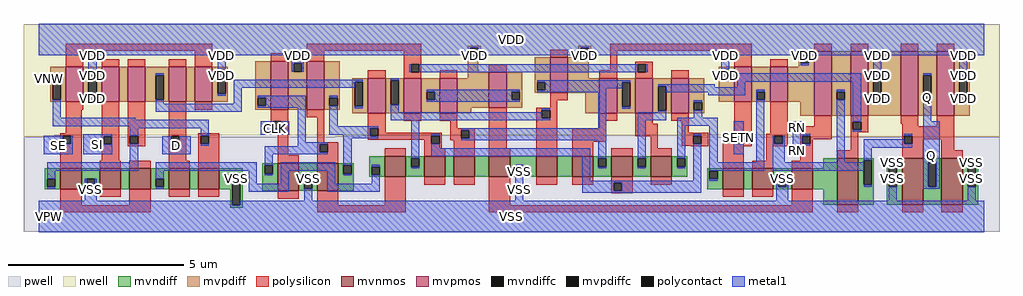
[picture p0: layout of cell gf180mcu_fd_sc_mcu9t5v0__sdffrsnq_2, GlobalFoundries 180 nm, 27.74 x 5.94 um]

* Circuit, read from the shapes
.subckt gf180mcu_fd_sc_mcu9t5v0__sdffrsnq_2 D RN SE SETN SI CLK Q VDD VNW VPW VSS
XM1 VSS SE n1 VPW nfet_06v0 w=0.59u l=0.6u
XM2 n2 SI VSS VPW nfet_06v0 w=0.59u l=0.6u
XM3 n3 SE n2 VPW nfet_06v0 w=0.59u l=0.6u
XM4 n4 D n3 VPW nfet_06v0 w=0.59u l=0.6u
XM5 VSS n1 n4 VPW nfet_06v0 w=0.59u l=0.6u
XM6 VSS CLK n5 VPW nfet_06v0 w=0.79u l=0.6u
XM7 n6 n5 VSS VPW nfet_06v0 w=0.79u l=0.6u
XM8 n7 n5 n3 VPW nfet_06v0 w=0.59u l=0.6u
XM9 n8 n6 n7 VPW nfet_06v0 w=0.59u l=0.6u
XM10 n9 n10 n8 VPW nfet_06v0 w=0.59u l=0.6u
XM11 VSS RN n9 VPW nfet_06v0 w=0.59u l=0.6u
XM12 n11 n7 VSS VPW nfet_06v0 w=0.59u l=0.6u
XM13 n10 SETN n11 VPW nfet_06v0 w=0.59u l=0.6u
XM14 n12 n6 n10 VPW nfet_06v0 w=0.59u l=0.6u
XM15 n13 n5 n12 VPW nfet_06v0 w=0.59u l=0.6u
XM16 n14 SETN n13 VPW nfet_06v0 w=0.59u l=0.6u
XM17 VSS n15 n14 VPW nfet_06v0 w=0.59u l=0.6u
XM18 n16 RN VSS VPW nfet_06v0 w=0.59u l=0.6u
XM19 n15 n12 n16 VPW nfet_06v0 w=1.32u l=0.6u
XM20 Q n15 VSS VPW nfet_06v0 w=1.32u l=0.6u m=2
XM21 VDD SE n1 VNW pfet_06v0 w=1u l=0.5u
XM22 n17 SI VDD VNW pfet_06v0 w=1u l=0.5u
XM23 n18 n1 n17 VNW pfet_06v0 w=1u l=0.5u
XM24 n19 D n18 VNW pfet_06v0 w=1u l=0.5u
XM25 VDD SE n19 VNW pfet_06v0 w=1u l=0.5u
XM26 VDD CLK n5 VNW pfet_06v0 w=1.38u l=0.5u
XM27 n6 n5 VDD VNW pfet_06v0 w=1.38u l=0.5u
XM28 n7 n6 n18 VNW pfet_06v0 w=1u l=0.5u
XM29 n20 n5 n7 VNW pfet_06v0 w=1u l=0.5u
XM30 VDD n10 n20 VNW pfet_06v0 w=1u l=0.5u
XM31 n20 RN VDD VNW pfet_06v0 w=1u l=0.5u
XM32 VDD n7 n10 VNW pfet_06v0 w=1u l=0.5u
XM33 n10 SETN VDD VNW pfet_06v0 w=1u l=0.5u
XM34 n12 n5 n10 VNW pfet_06v0 w=1u l=0.5u
XM35 n13 n6 n12 VNW pfet_06v0 w=1u l=0.5u
XM36 n13 SETN VDD VNW pfet_06v0 w=1u l=0.5u
XM37 VDD n15 n13 VNW pfet_06v0 w=1u l=0.5u
XM38 n15 RN VDD VNW pfet_06v0 w=1.83u l=0.5u
XM39 VDD n12 n15 VNW pfet_06v0 w=1.83u l=0.5u
XM40 Q n15 VDD VNW pfet_06v0 w=1.83u l=0.5u m=2
.ends

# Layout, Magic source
magic
tech gf180mcuD
magscale 1 10
<< nwell >>
rect -86 464 5462 1094
rect -86 453 86 464
rect 4277 453 5462 464
<< pwell >>
rect 1836 456 3739 464
rect 1688 453 3739 456
rect -86 -86 5462 453
<< mvnmos >>
rect 124 156 244 274
rect 348 156 468 274
rect 516 156 636 274
rect 740 156 860 274
rect 908 156 1028 274
rect 1360 146 1480 304
rect 1584 146 1704 304
rect 1968 226 2088 344
rect 2192 226 2312 344
rect 2360 226 2480 344
rect 2560 226 2680 344
rect 2828 226 2948 344
rect 3032 226 3152 344
rect 3256 226 3376 344
rect 3480 226 3600 344
rect 3888 157 4008 275
rect 4056 157 4176 275
rect 4280 157 4400 275
rect 4540 69 4660 333
rect 4908 69 5028 333
rect 5132 69 5252 333
<< mvpmos >>
rect 154 652 254 852
rect 358 652 458 852
rect 506 652 606 852
rect 740 652 840 852
rect 888 652 988 852
rect 1320 608 1420 884
rect 1524 608 1624 884
rect 1872 588 1972 788
rect 2076 588 2176 788
rect 2280 588 2380 788
rect 2560 620 2660 820
rect 2908 705 3008 905
rect 3188 588 3288 788
rect 3392 588 3492 788
rect 3596 588 3696 788
rect 3954 652 4054 852
rect 4158 652 4258 852
rect 4408 573 4508 939
rect 4616 573 4716 939
rect 4900 573 5000 939
rect 5104 573 5204 939
<< mvndiff >>
rect 1272 291 1360 304
rect 36 215 124 274
rect 36 169 49 215
rect 95 169 124 215
rect 36 156 124 169
rect 244 215 348 274
rect 244 169 273 215
rect 319 169 348 215
rect 244 156 348 169
rect 468 156 516 274
rect 636 215 740 274
rect 636 169 665 215
rect 711 169 740 215
rect 636 156 740 169
rect 860 156 908 274
rect 1028 205 1160 274
rect 1028 156 1101 205
rect 1088 65 1101 156
rect 1147 65 1160 205
rect 1272 245 1285 291
rect 1331 245 1360 291
rect 1272 146 1360 245
rect 1480 205 1584 304
rect 1480 159 1509 205
rect 1555 159 1584 205
rect 1480 146 1584 159
rect 1704 291 1792 304
rect 1704 245 1733 291
rect 1779 245 1792 291
rect 1704 146 1792 245
rect 1880 285 1968 344
rect 1880 239 1893 285
rect 1939 239 1968 285
rect 1880 226 1968 239
rect 2088 331 2192 344
rect 2088 285 2117 331
rect 2163 285 2192 331
rect 2088 226 2192 285
rect 2312 226 2360 344
rect 2480 226 2560 344
rect 2680 285 2828 344
rect 2680 239 2709 285
rect 2755 239 2828 285
rect 2680 226 2828 239
rect 2948 226 3032 344
rect 3152 331 3256 344
rect 3152 285 3181 331
rect 3227 285 3256 331
rect 3152 226 3256 285
rect 3376 331 3480 344
rect 3376 285 3405 331
rect 3451 285 3480 331
rect 3376 226 3480 285
rect 3600 331 3688 344
rect 3600 285 3629 331
rect 3675 285 3688 331
rect 3600 226 3688 285
rect 4460 275 4540 333
rect 3800 262 3888 275
rect 1088 52 1160 65
rect 3800 216 3813 262
rect 3859 216 3888 262
rect 3800 157 3888 216
rect 4008 157 4056 275
rect 4176 216 4280 275
rect 4176 170 4205 216
rect 4251 170 4280 216
rect 4176 157 4280 170
rect 4400 157 4540 275
rect 4460 69 4540 157
rect 4660 320 4748 333
rect 4660 180 4689 320
rect 4735 180 4748 320
rect 4660 69 4748 180
rect 4820 309 4908 333
rect 4820 169 4833 309
rect 4879 169 4908 309
rect 4820 69 4908 169
rect 5028 309 5132 333
rect 5028 169 5057 309
rect 5103 169 5132 309
rect 5028 69 5132 169
rect 5252 309 5340 333
rect 5252 169 5281 309
rect 5327 169 5340 309
rect 5252 69 5340 169
<< mvpdiff >>
rect 66 805 154 852
rect 66 665 79 805
rect 125 665 154 805
rect 66 652 154 665
rect 254 805 358 852
rect 254 665 283 805
rect 329 665 358 805
rect 254 652 358 665
rect 458 652 506 852
rect 606 805 740 852
rect 606 665 665 805
rect 711 665 740 805
rect 606 652 740 665
rect 840 652 888 852
rect 988 839 1076 852
rect 988 699 1017 839
rect 1063 699 1076 839
rect 988 652 1076 699
rect 1232 676 1320 884
rect 1232 630 1245 676
rect 1291 630 1320 676
rect 1232 608 1320 630
rect 1420 871 1524 884
rect 1420 825 1449 871
rect 1495 825 1524 871
rect 1420 608 1524 825
rect 1624 676 1712 884
rect 2440 959 2512 972
rect 2440 913 2453 959
rect 2499 913 2512 959
rect 3068 959 3140 972
rect 2440 900 2512 913
rect 3068 913 3081 959
rect 3127 913 3140 959
rect 3068 905 3140 913
rect 2440 820 2500 900
rect 2440 788 2560 820
rect 1624 630 1653 676
rect 1699 630 1712 676
rect 1624 608 1712 630
rect 1784 768 1872 788
rect 1784 628 1797 768
rect 1843 628 1872 768
rect 1784 588 1872 628
rect 1972 775 2076 788
rect 1972 635 2001 775
rect 2047 635 2076 775
rect 1972 588 2076 635
rect 2176 711 2280 788
rect 2176 665 2205 711
rect 2251 665 2280 711
rect 2176 588 2280 665
rect 2380 620 2560 788
rect 2660 711 2748 820
rect 2660 665 2689 711
rect 2735 665 2748 711
rect 2820 764 2908 905
rect 2820 718 2833 764
rect 2879 718 2908 764
rect 2820 705 2908 718
rect 3008 900 3140 905
rect 3008 788 3128 900
rect 4320 917 4408 939
rect 4320 871 4333 917
rect 4379 871 4408 917
rect 4320 852 4408 871
rect 3866 839 3954 852
rect 3866 793 3879 839
rect 3925 793 3954 839
rect 3008 705 3188 788
rect 2660 620 2748 665
rect 2380 588 2460 620
rect 3108 588 3188 705
rect 3288 764 3392 788
rect 3288 624 3317 764
rect 3363 624 3392 764
rect 3288 588 3392 624
rect 3492 742 3596 788
rect 3492 602 3521 742
rect 3567 602 3596 742
rect 3492 588 3596 602
rect 3696 650 3784 788
rect 3866 652 3954 793
rect 4054 711 4158 852
rect 4054 665 4083 711
rect 4129 665 4158 711
rect 4054 652 4158 665
rect 4258 652 4408 852
rect 3696 604 3725 650
rect 3771 604 3784 650
rect 3696 588 3784 604
rect 4328 573 4408 652
rect 4508 711 4616 939
rect 4508 665 4537 711
rect 4583 665 4616 711
rect 4508 573 4616 665
rect 4716 805 4900 939
rect 4716 665 4745 805
rect 4791 665 4900 805
rect 4716 573 4900 665
rect 5000 805 5104 939
rect 5000 665 5029 805
rect 5075 665 5104 805
rect 5000 573 5104 665
rect 5204 805 5292 939
rect 5204 665 5233 805
rect 5279 665 5292 805
rect 5204 573 5292 665
<< mvndiffc >>
rect 49 169 95 215
rect 273 169 319 215
rect 665 169 711 215
rect 1101 65 1147 205
rect 1285 245 1331 291
rect 1509 159 1555 205
rect 1733 245 1779 291
rect 1893 239 1939 285
rect 2117 285 2163 331
rect 2709 239 2755 285
rect 3181 285 3227 331
rect 3405 285 3451 331
rect 3629 285 3675 331
rect 3813 216 3859 262
rect 4205 170 4251 216
rect 4689 180 4735 320
rect 4833 169 4879 309
rect 5057 169 5103 309
rect 5281 169 5327 309
<< mvpdiffc >>
rect 79 665 125 805
rect 283 665 329 805
rect 665 665 711 805
rect 1017 699 1063 839
rect 1245 630 1291 676
rect 1449 825 1495 871
rect 2453 913 2499 959
rect 3081 913 3127 959
rect 1653 630 1699 676
rect 1797 628 1843 768
rect 2001 635 2047 775
rect 2205 665 2251 711
rect 2689 665 2735 711
rect 2833 718 2879 764
rect 4333 871 4379 917
rect 3879 793 3925 839
rect 3317 624 3363 764
rect 3521 602 3567 742
rect 4083 665 4129 711
rect 3725 604 3771 650
rect 4537 665 4583 711
rect 4745 665 4791 805
rect 5029 665 5075 805
rect 5233 665 5279 805
<< polysilicon >>
rect 154 944 988 984
rect 154 852 254 944
rect 358 852 458 896
rect 506 852 606 896
rect 740 852 840 896
rect 888 852 988 944
rect 1524 944 2176 984
rect 1320 884 1420 928
rect 1524 884 1624 944
rect 154 608 254 652
rect 154 473 244 608
rect 124 460 244 473
rect 124 414 137 460
rect 183 414 244 460
rect 124 274 244 414
rect 358 458 458 652
rect 358 412 371 458
rect 417 412 458 458
rect 358 318 458 412
rect 506 460 606 652
rect 506 414 519 460
rect 565 414 606 460
rect 506 401 606 414
rect 740 458 840 652
rect 888 608 988 652
rect 2076 867 2176 944
rect 1872 788 1972 832
rect 2076 821 2117 867
rect 2163 821 2176 867
rect 2908 905 3008 949
rect 2076 788 2176 821
rect 2280 788 2380 832
rect 2560 820 2660 864
rect 1320 542 1420 608
rect 1524 564 1624 608
rect 3248 944 4054 984
rect 3248 832 3288 944
rect 3188 788 3288 832
rect 3392 867 3492 880
rect 3392 821 3405 867
rect 3451 821 3492 867
rect 3954 852 4054 944
rect 4408 939 4508 983
rect 4616 939 4716 983
rect 4900 939 5000 983
rect 5104 939 5204 983
rect 4158 852 4258 896
rect 3392 788 3492 821
rect 3596 788 3696 832
rect 2908 661 3008 705
rect 1320 496 1333 542
rect 1379 496 1420 542
rect 1320 483 1420 496
rect 740 412 753 458
rect 799 412 840 458
rect 740 318 840 412
rect 908 460 1028 473
rect 908 414 921 460
rect 967 414 1028 460
rect 348 274 468 318
rect 516 274 636 318
rect 740 274 860 318
rect 908 274 1028 414
rect 1360 348 1420 483
rect 1584 424 1624 564
rect 1872 502 1972 588
rect 2076 544 2176 588
rect 2280 544 2380 588
rect 1872 456 1885 502
rect 1931 476 1972 502
rect 2340 504 2380 544
rect 2340 491 2480 504
rect 1931 460 2292 476
rect 1931 456 2233 460
rect 1872 436 2233 456
rect 1584 411 1704 424
rect 1584 365 1597 411
rect 1643 365 1704 411
rect 2192 414 2233 436
rect 2279 414 2292 460
rect 2340 445 2401 491
rect 2447 445 2480 491
rect 2340 434 2480 445
rect 2192 388 2292 414
rect 1360 304 1480 348
rect 1584 304 1704 365
rect 1968 344 2088 388
rect 2192 344 2312 388
rect 2360 344 2480 434
rect 2560 388 2660 620
rect 2908 618 2948 661
rect 2828 605 2948 618
rect 2828 559 2861 605
rect 2907 559 2948 605
rect 2560 344 2680 388
rect 2828 344 2948 559
rect 3188 544 3288 588
rect 3188 499 3228 544
rect 3032 427 3228 499
rect 3392 528 3492 588
rect 3596 544 3696 588
rect 3392 457 3520 528
rect 3032 344 3152 427
rect 3480 388 3520 457
rect 3656 476 3696 544
rect 3656 460 3807 476
rect 3954 470 4054 652
rect 4158 471 4258 652
rect 4408 513 4508 573
rect 3656 414 3721 460
rect 3767 414 3807 460
rect 3656 404 3807 414
rect 3707 401 3807 404
rect 3888 460 4054 470
rect 3888 414 3962 460
rect 4008 414 4054 460
rect 3888 401 4054 414
rect 4136 460 4258 471
rect 4136 414 4183 460
rect 4229 414 4258 460
rect 4136 401 4258 414
rect 4328 460 4508 513
rect 4328 414 4341 460
rect 4387 441 4508 460
rect 4616 540 4716 573
rect 4616 494 4629 540
rect 4675 494 4716 540
rect 4900 529 5000 573
rect 4616 481 4716 494
rect 4908 513 5000 529
rect 5104 513 5204 573
rect 4387 414 4400 441
rect 3256 344 3376 388
rect 3480 344 3600 388
rect 124 64 244 156
rect 348 112 468 156
rect 516 64 636 156
rect 740 112 860 156
rect 908 112 1028 156
rect 124 24 636 64
rect 3888 275 4008 401
rect 4136 319 4176 401
rect 4328 319 4400 414
rect 4616 377 4660 481
rect 4540 333 4660 377
rect 4908 460 5204 513
rect 4908 414 4921 460
rect 4967 441 5204 460
rect 4967 414 5028 441
rect 4908 333 5028 414
rect 5132 377 5204 441
rect 5132 333 5252 377
rect 4056 275 4176 319
rect 4280 275 4400 319
rect 1360 102 1480 146
rect 1584 64 1704 146
rect 1968 64 2088 226
rect 2192 182 2312 226
rect 2360 182 2480 226
rect 1584 24 2088 64
rect 2560 64 2680 226
rect 2828 182 2948 226
rect 3032 182 3152 226
rect 3256 193 3376 226
rect 3256 147 3269 193
rect 3315 147 3376 193
rect 3480 182 3600 226
rect 3256 134 3376 147
rect 3888 113 4008 157
rect 4056 113 4176 157
rect 4280 64 4400 157
rect 2560 24 4400 64
rect 4540 25 4660 69
rect 4908 25 5028 69
rect 5132 25 5252 69
<< polycontact >>
rect 137 414 183 460
rect 371 412 417 458
rect 519 414 565 460
rect 2117 821 2163 867
rect 3405 821 3451 867
rect 1333 496 1379 542
rect 753 412 799 458
rect 921 414 967 460
rect 1885 456 1931 502
rect 1597 365 1643 411
rect 2233 414 2279 460
rect 2401 445 2447 491
rect 2861 559 2907 605
rect 3721 414 3767 460
rect 3962 414 4008 460
rect 4183 414 4229 460
rect 4341 414 4387 460
rect 4629 494 4675 540
rect 4921 414 4967 460
rect 3269 147 3315 193
<< metal1 >>
rect 0 959 5376 1098
rect 0 918 2453 959
rect 79 805 125 816
rect 79 561 125 665
rect 283 805 329 918
rect 1017 839 1063 918
rect 283 654 329 665
rect 665 805 711 816
rect 1438 871 1506 918
rect 2442 913 2453 918
rect 2499 918 3081 959
rect 2499 913 2510 918
rect 3070 913 3081 918
rect 3127 918 5376 959
rect 3127 913 3138 918
rect 1438 825 1449 871
rect 1495 825 1506 871
rect 2106 821 2117 867
rect 2163 821 3405 867
rect 3451 821 3462 867
rect 3879 839 3925 918
rect 4333 917 4379 918
rect 4333 860 4379 871
rect 1017 688 1063 699
rect 1109 768 1843 779
rect 1109 733 1797 768
rect 665 642 711 665
rect 1109 642 1155 733
rect 665 596 1155 642
rect 1245 676 1518 687
rect 1291 630 1518 676
rect 1245 619 1518 630
rect 79 550 549 561
rect 79 515 967 550
rect 519 504 967 515
rect 30 414 137 460
rect 183 414 194 460
rect 30 354 194 414
rect 254 458 418 469
rect 254 412 371 458
rect 417 412 418 458
rect 254 354 418 412
rect 519 460 565 504
rect 921 460 967 504
rect 1262 496 1333 542
rect 1379 496 1426 542
rect 1262 466 1426 496
rect 519 308 565 414
rect 702 412 753 458
rect 799 412 866 458
rect 702 354 866 412
rect 921 403 967 414
rect 1472 422 1518 619
rect 1653 676 1699 687
rect 1653 513 1699 630
rect 1797 617 1843 628
rect 2001 775 2047 786
rect 3879 782 3925 793
rect 2833 764 3363 775
rect 2205 711 2735 722
rect 2251 665 2689 711
rect 2879 729 3317 764
rect 2879 718 3227 729
rect 2833 707 3227 718
rect 2205 654 2735 665
rect 2001 594 2047 635
rect 2861 605 2907 616
rect 2001 559 2861 594
rect 2001 548 2907 559
rect 1653 502 1931 513
rect 1653 467 1885 502
rect 1733 456 1885 467
rect 1733 445 1931 456
rect 1472 411 1643 422
rect 1472 400 1597 411
rect 1285 365 1597 400
rect 1285 354 1643 365
rect 49 262 565 308
rect 665 262 1239 308
rect 49 215 95 262
rect 665 215 711 262
rect 49 158 95 169
rect 262 169 273 215
rect 319 169 330 215
rect 262 90 330 169
rect 665 158 711 169
rect 1101 205 1147 216
rect 0 65 1101 90
rect 1193 188 1239 262
rect 1285 291 1331 354
rect 1285 234 1331 245
rect 1377 262 1687 308
rect 1377 188 1423 262
rect 1193 142 1423 188
rect 1509 205 1555 216
rect 1509 90 1555 159
rect 1641 188 1687 262
rect 1733 291 1779 445
rect 2117 331 2163 548
rect 3181 502 3227 707
rect 3971 768 4675 814
rect 3317 613 3363 624
rect 3521 742 3843 753
rect 3567 736 3843 742
rect 3971 736 4017 768
rect 3567 707 4017 736
rect 3807 690 4017 707
rect 4080 711 4129 722
rect 4080 665 4083 711
rect 3521 594 3567 602
rect 2401 491 3227 502
rect 2233 460 2279 471
rect 2447 445 3227 491
rect 2401 434 3227 445
rect 2233 388 2279 414
rect 2233 342 3135 388
rect 1733 234 1779 245
rect 1893 285 1939 296
rect 2117 274 2163 285
rect 2709 285 2755 296
rect 1893 188 1939 239
rect 1641 142 1939 188
rect 2709 90 2755 239
rect 3089 204 3135 342
rect 3181 331 3227 434
rect 3181 274 3227 285
rect 3405 548 3567 594
rect 3725 650 3771 661
rect 3725 563 3771 604
rect 4080 654 4129 665
rect 4537 711 4583 722
rect 3405 331 3451 548
rect 3405 274 3451 285
rect 3629 517 3859 563
rect 3629 331 3675 517
rect 3629 274 3675 285
rect 3721 460 3767 471
rect 3721 204 3767 414
rect 3813 308 3859 517
rect 3950 460 4008 542
rect 3950 414 3962 460
rect 3950 354 4008 414
rect 4080 308 4126 654
rect 4286 471 4338 542
rect 4286 460 4387 471
rect 3813 262 4126 308
rect 4172 414 4183 460
rect 4229 414 4240 460
rect 4172 308 4240 414
rect 4286 414 4341 460
rect 4286 403 4387 414
rect 4286 354 4338 403
rect 4537 308 4583 665
rect 4629 540 4675 768
rect 4745 805 4791 918
rect 4745 654 4791 665
rect 5029 805 5075 816
rect 4629 483 4675 494
rect 5029 542 5075 665
rect 5233 805 5279 918
rect 5233 654 5279 665
rect 4921 460 4967 471
rect 4689 414 4921 439
rect 4689 393 4967 414
rect 4689 320 4735 393
rect 4172 262 4689 308
rect 3813 205 3859 216
rect 3089 193 3767 204
rect 3089 147 3269 193
rect 3315 147 3767 193
rect 3089 136 3767 147
rect 4194 170 4205 216
rect 4251 170 4262 216
rect 4194 90 4262 170
rect 4689 169 4735 180
rect 4833 309 4879 320
rect 4833 90 4879 169
rect 5029 309 5122 542
rect 5029 169 5057 309
rect 5103 169 5122 309
rect 5029 158 5122 169
rect 5281 309 5327 320
rect 5281 90 5327 169
rect 1147 65 5376 90
rect 0 -90 5376 65
<< labels >>
flabel metal1 s 1262 466 1426 542 0 FreeSans 200 0 0 0 CLK
port 6 nsew clock input
flabel metal1 s 702 354 866 458 0 FreeSans 200 0 0 0 D
port 1 nsew default input
flabel metal1 s 5029 542 5075 816 0 FreeSans 200 0 0 0 Q
port 7 nsew default output
flabel metal1 s 4286 471 4338 542 0 FreeSans 200 0 0 0 RN
port 2 nsew default input
flabel metal1 s 30 354 194 460 0 FreeSans 200 0 0 0 SE
port 3 nsew default input
flabel metal1 s 3950 354 4008 542 0 FreeSans 200 0 0 0 SETN
port 4 nsew default input
flabel metal1 s 254 354 418 469 0 FreeSans 200 0 0 0 SI
port 5 nsew default input
flabel metal1 s 0 918 5376 1098 0 FreeSans 200 0 0 0 VDD
port 8 nsew power bidirectional abutment
flabel metal1 s 5281 296 5327 320 0 FreeSans 200 0 0 0 VSS
port 11 nsew ground bidirectional abutment
flabel nwell s 10 734 110 834 0 FreeSans 400 0 0 0 VNW
port 9 nsew power bidirectional
flabel pwell s 10 -50 110 50 0 FreeSans 400 0 0 0 VPW
port 10 nsew ground bidirectional
rlabel metal1 s 4286 403 4387 471 1 RN
port 2 nsew default input
rlabel metal1 s 4286 354 4338 403 1 RN
port 2 nsew default input
rlabel metal1 s 5029 158 5122 542 1 Q
port 7 nsew default output
rlabel metal1 s 5233 913 5279 918 1 VDD
port 8 nsew power bidirectional abutment
rlabel metal1 s 4745 913 4791 918 1 VDD
port 8 nsew power bidirectional abutment
rlabel metal1 s 4333 913 4379 918 1 VDD
port 8 nsew power bidirectional abutment
rlabel metal1 s 3879 913 3925 918 1 VDD
port 8 nsew power bidirectional abutment
rlabel metal1 s 3070 913 3138 918 1 VDD
port 8 nsew power bidirectional abutment
rlabel metal1 s 2442 913 2510 918 1 VDD
port 8 nsew power bidirectional abutment
rlabel metal1 s 1438 913 1506 918 1 VDD
port 8 nsew power bidirectional abutment
rlabel metal1 s 1017 913 1063 918 1 VDD
port 8 nsew power bidirectional abutment
rlabel metal1 s 283 913 329 918 1 VDD
port 8 nsew power bidirectional abutment
rlabel metal1 s 5233 860 5279 913 1 VDD
port 8 nsew power bidirectional abutment
rlabel metal1 s 4745 860 4791 913 1 VDD
port 8 nsew power bidirectional abutment
rlabel metal1 s 4333 860 4379 913 1 VDD
port 8 nsew power bidirectional abutment
rlabel metal1 s 3879 860 3925 913 1 VDD
port 8 nsew power bidirectional abutment
rlabel metal1 s 1438 860 1506 913 1 VDD
port 8 nsew power bidirectional abutment
rlabel metal1 s 1017 860 1063 913 1 VDD
port 8 nsew power bidirectional abutment
rlabel metal1 s 283 860 329 913 1 VDD
port 8 nsew power bidirectional abutment
rlabel metal1 s 5233 825 5279 860 1 VDD
port 8 nsew power bidirectional abutment
rlabel metal1 s 4745 825 4791 860 1 VDD
port 8 nsew power bidirectional abutment
rlabel metal1 s 3879 825 3925 860 1 VDD
port 8 nsew power bidirectional abutment
rlabel metal1 s 1438 825 1506 860 1 VDD
port 8 nsew power bidirectional abutment
rlabel metal1 s 1017 825 1063 860 1 VDD
port 8 nsew power bidirectional abutment
rlabel metal1 s 283 825 329 860 1 VDD
port 8 nsew power bidirectional abutment
rlabel metal1 s 5233 782 5279 825 1 VDD
port 8 nsew power bidirectional abutment
rlabel metal1 s 4745 782 4791 825 1 VDD
port 8 nsew power bidirectional abutment
rlabel metal1 s 3879 782 3925 825 1 VDD
port 8 nsew power bidirectional abutment
rlabel metal1 s 1017 782 1063 825 1 VDD
port 8 nsew power bidirectional abutment
rlabel metal1 s 283 782 329 825 1 VDD
port 8 nsew power bidirectional abutment
rlabel metal1 s 5233 688 5279 782 1 VDD
port 8 nsew power bidirectional abutment
rlabel metal1 s 4745 688 4791 782 1 VDD
port 8 nsew power bidirectional abutment
rlabel metal1 s 1017 688 1063 782 1 VDD
port 8 nsew power bidirectional abutment
rlabel metal1 s 283 688 329 782 1 VDD
port 8 nsew power bidirectional abutment
rlabel metal1 s 5233 654 5279 688 1 VDD
port 8 nsew power bidirectional abutment
rlabel metal1 s 4745 654 4791 688 1 VDD
port 8 nsew power bidirectional abutment
rlabel metal1 s 283 654 329 688 1 VDD
port 8 nsew power bidirectional abutment
rlabel metal1 s 4833 296 4879 320 1 VSS
port 11 nsew ground bidirectional abutment
rlabel metal1 s 5281 216 5327 296 1 VSS
port 11 nsew ground bidirectional abutment
rlabel metal1 s 4833 216 4879 296 1 VSS
port 11 nsew ground bidirectional abutment
rlabel metal1 s 2709 216 2755 296 1 VSS
port 11 nsew ground bidirectional abutment
rlabel metal1 s 5281 215 5327 216 1 VSS
port 11 nsew ground bidirectional abutment
rlabel metal1 s 4833 215 4879 216 1 VSS
port 11 nsew ground bidirectional abutment
rlabel metal1 s 4194 215 4262 216 1 VSS
port 11 nsew ground bidirectional abutment
rlabel metal1 s 2709 215 2755 216 1 VSS
port 11 nsew ground bidirectional abutment
rlabel metal1 s 1509 215 1555 216 1 VSS
port 11 nsew ground bidirectional abutment
rlabel metal1 s 1101 215 1147 216 1 VSS
port 11 nsew ground bidirectional abutment
rlabel metal1 s 5281 90 5327 215 1 VSS
port 11 nsew ground bidirectional abutment
rlabel metal1 s 4833 90 4879 215 1 VSS
port 11 nsew ground bidirectional abutment
rlabel metal1 s 4194 90 4262 215 1 VSS
port 11 nsew ground bidirectional abutment
rlabel metal1 s 2709 90 2755 215 1 VSS
port 11 nsew ground bidirectional abutment
rlabel metal1 s 1509 90 1555 215 1 VSS
port 11 nsew ground bidirectional abutment
rlabel metal1 s 1101 90 1147 215 1 VSS
port 11 nsew ground bidirectional abutment
rlabel metal1 s 262 90 330 215 1 VSS
port 11 nsew ground bidirectional abutment
rlabel metal1 s 0 -90 5376 90 1 VSS
port 11 nsew ground bidirectional abutment
<< properties >>
string FIXED_BBOX 0 0 5376 1008
string GDS_END 392116
string GDS_FILE $PDKPATH/libs.ref/gf180mcu_fd_sc_mcu9t5v0/gds/gf180mcu_fd_sc_mcu9t5v0.gds
string GDS_START 379652
string LEFclass core
string LEFsite GF018hv5v_green_sc9
string LEFsymmetry X Y
<< end >>
